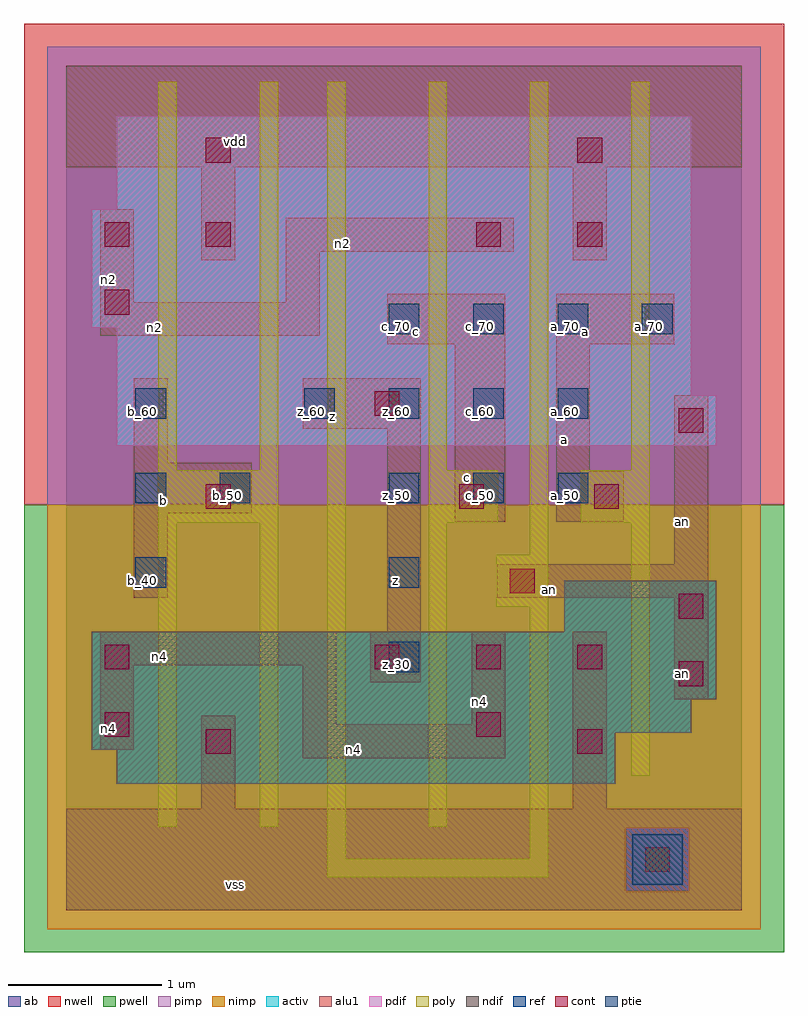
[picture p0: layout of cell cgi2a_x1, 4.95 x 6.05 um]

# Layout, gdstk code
import gdstk
lib = gdstk.Library(unit=1e-6, precision=2.5e-09)
def R(c, l, rs):  # rectangles x0, y0, x1, y1
    for r in rs: c.add(gdstk.rectangle(r[:2], r[2:], *l))
def A(c, l, x, y, w, h, nx, ny, dx, dy):  # array of equal rectangles
    R(c, l, [(x+i*dx, y+j*dy, x+i*dx+w, y+j*dy+h) for i in range(nx) for j in range(ny)])
ndif = (3, 0)
pdif = (4, 0)
ptie = (6, 0)
ref = (24, 0)
cont = (25, 0)
pwell = (41, 0)
nwell = (42, 0)
activ = (43, 0)
pimp = (44, 0)
nimp = (45, 0)
poly = (46, 0)
alu1 = (49, 0)
ab = (63, 0)

cgi2a_x1 = lib.new_cell('cgi2a_x1')
R(cgi2a_x1, ndif, [(0.33,0.825,3.575,1.045), (0.165,1.045,3.575,1.155), (0.165,1.155,4.07,1.375), (0.165,1.375,4.235,1.815), (3.245,1.815,4.235,2.145)])
R(cgi2a_x1, pdif, [(0.33,3.025,4.235,3.355), (0.33,3.355,4.07,3.795), (0.165,3.795,4.07,4.565), (0.33,4.565,4.07,5.17)])
R(cgi2a_x1, ptie, [(3.685,0.165,4.015,0.495)])
A(cgi2a_x1, ref, 0.45, 2.1, 0.2, 0.2, 1, 3, 0, 0.55)
A(cgi2a_x1, ref, 2.1, 2.65, 0.2, 0.2, 3, 1, 0.55, 0)
A(cgi2a_x1, ref, 1.55, 3.2, 0.2, 0.2, 4, 1, 0.55, 0)
A(cgi2a_x1, ref, 2.1, 3.75, 0.2, 0.2, 4, 1, 0.55, 0)
R(cgi2a_x1, ref, [(2.1,1.55,2.3,1.75), (2.1,2.1,2.3,2.3), (1,2.65,1.2,2.85)])
A(cgi2a_x1, cont, 2.01, 1.57, 0.16, 0.16, 3, 1, 0.66, 0)
R(cgi2a_x1, cont, [(3.77,0.25,3.93,0.41), (0.91,1.02,1.07,1.18), (3.33,1.02,3.49,1.18), (0.25,1.13,0.41,1.29), (2.67,1.13,2.83,1.29), (3.99,1.46,4.15,1.62), (0.25,1.57,0.41,1.73), (3.99,1.9,4.15,2.06), (2.89,2.065,3.05,2.225), (0.91,2.615,1.07,2.775), (2.56,2.615,2.72,2.775), (3.44,2.615,3.6,2.775), (3.99,3.11,4.15,3.27), (2.01,3.22,2.17,3.38), (0.25,3.88,0.41,4.04), (0.25,4.32,0.41,4.48), (0.91,4.32,1.07,4.48), (2.67,4.32,2.83,4.48), (3.33,4.32,3.49,4.48), (0.91,4.87,1.07,5.03), (3.33,4.87,3.49,5.03)])
R(cgi2a_x1, pwell, [(-0.275,-0.275,4.675,2.64)])
R(cgi2a_x1, nwell, [(-0.275,2.64,4.675,5.775)])
R(cgi2a_x1, activ, [(3.685,0.165,4.015,0.495), (0.33,0.825,3.575,1.045), (0.165,1.045,3.575,1.155), (0.165,1.155,4.07,1.375), (0.165,1.375,4.235,1.815), (3.245,1.815,4.235,2.145), (0.33,3.025,4.235,3.355), (0.33,3.355,4.07,3.795), (0.165,3.795,4.07,4.565), (0.33,4.565,4.07,5.17)])
R(cgi2a_x1, pimp, [(3.645,0.125,4.055,0.535), (-0.125,2.64,4.525,5.625)])
R(cgi2a_x1, nimp, [(-0.125,-0.125,4.525,0.125), (-0.125,0.125,3.645,0.535), (4.055,0.125,4.525,0.535), (-0.125,0.535,4.525,2.64)])
R(cgi2a_x1, poly, [(1.7,0.215,3.14,0.335), (1.7,0.335,1.82,5.395), (3.02,0.335,3.14,1.975), (0.6,0.545,0.72,2.525), (1.26,0.545,1.38,2.525), (2.36,0.545,2.48,2.525), (3.68,0.875,3.8,2.525), (2.8,1.975,3.14,2.315), (3.02,2.315,3.14,5.395), (0.6,2.525,1.38,2.865), (2.36,2.525,2.81,2.865), (3.35,2.525,3.8,2.865), (0.6,2.865,0.72,5.395), (1.26,2.865,1.38,5.395), (2.36,2.865,2.48,5.395), (3.68,2.865,3.8,5.395)])
R(cgi2a_x1, alu1, [(0,0,4.4,0.66), (0.88,0.66,1.1,1.265), (3.3,0.66,3.52,1.815), (1.54,0.99,2.86,1.21), (0.22,1.045,0.44,1.595), (1.54,1.21,1.76,1.595), (2.64,1.21,2.86,1.815), (3.96,1.375,4.18,2.035), (1.98,1.485,2.31,1.815), (0.22,1.595,1.76,1.815), (2.09,1.815,2.31,3.135), (0.44,2.035,0.66,2.585), (2.805,2.035,4.18,2.255), (3.96,2.255,4.18,3.355), (2.53,2.53,2.86,3.685), (3.19,2.53,3.63,2.86), (0.44,2.585,1.21,2.915), (3.19,2.86,3.41,3.685), (0.44,2.915,0.66,3.465), (1.54,3.135,2.31,3.465), (2.09,3.685,2.86,4.015), (3.19,3.685,3.96,4.015), (0.22,3.74,1.65,3.96), (0.22,3.96,0.44,4.565), (1.43,3.96,1.65,4.29), (0.88,4.235,1.1,4.84), (3.3,4.235,3.52,4.84), (1.43,4.29,2.915,4.51), (0,4.84,4.4,5.5)])
R(cgi2a_x1, ab, [(0,0,4.4,5.5)])
cgi2a_x1.add(gdstk.Label('vss', (1.1,0.165), layer=49, texttype=0))
cgi2a_x1.add(gdstk.Label('an', (4.015,1.54), layer=49, texttype=0))
cgi2a_x1.add(gdstk.Label('n4', (1.87,1.045), layer=49, texttype=0))
cgi2a_x1.add(gdstk.Label('n4', (2.695,1.36), layer=49, texttype=0))
cgi2a_x1.add(gdstk.Label('n4', (0.275,1.1825), layer=49, texttype=0))
cgi2a_x1.add(gdstk.Label('n4', (0.605,1.65), layer=49, texttype=0))
cgi2a_x1.add(gdstk.Label('an', (3.1475,2.09), layer=49, texttype=0))
cgi2a_x1.add(gdstk.Label('an', (4.015,2.53), layer=49, texttype=0))
cgi2a_x1.add(gdstk.Label('a', (3.245,3.065), layer=49, texttype=0))
cgi2a_x1.add(gdstk.Label('a', (3.3825,3.7675), layer=49, texttype=0))
cgi2a_x1.add(gdstk.Label('c', (2.6125,2.8175), layer=49, texttype=0))
cgi2a_x1.add(gdstk.Label('z', (2.145,2.145), layer=49, texttype=0))
cgi2a_x1.add(gdstk.Label('b', (0.6325,2.6675), layer=49, texttype=0))
cgi2a_x1.add(gdstk.Label('z', (1.7325,3.2175), layer=49, texttype=0))
cgi2a_x1.add(gdstk.Label('c', (2.2825,3.7675), layer=49, texttype=0))
cgi2a_x1.add(gdstk.Label('n2', (0.5775,3.795), layer=49, texttype=0))
cgi2a_x1.add(gdstk.Label('n2', (1.8,4.345), layer=49, texttype=0))
cgi2a_x1.add(gdstk.Label('n2', (0.275,4.11), layer=49, texttype=0))
cgi2a_x1.add(gdstk.Label('vdd', (1.1,5.005), layer=49, texttype=0))
cgi2a_x1.add(gdstk.Label('c_70', (2.15,3.8), layer=24, texttype=0))
cgi2a_x1.add(gdstk.Label('a_70', (3.8,3.8), layer=24, texttype=0))
cgi2a_x1.add(gdstk.Label('z_30', (2.15,1.6), layer=24, texttype=0))
cgi2a_x1.add(gdstk.Label('c_50', (2.7,2.7), layer=24, texttype=0))
cgi2a_x1.add(gdstk.Label('b_60', (0.5,3.25), layer=24, texttype=0))
cgi2a_x1.add(gdstk.Label('b_50', (0.5,2.7), layer=24, texttype=0))
cgi2a_x1.add(gdstk.Label('b_50', (1.05,2.7), layer=24, texttype=0))
cgi2a_x1.add(gdstk.Label('b_40', (0.5,2.15), layer=24, texttype=0))
cgi2a_x1.add(gdstk.Label('z_60', (2.15,3.25), layer=24, texttype=0))
cgi2a_x1.add(gdstk.Label('z_60', (1.6,3.25), layer=24, texttype=0))
cgi2a_x1.add(gdstk.Label('c_60', (2.7,3.25), layer=24, texttype=0))
cgi2a_x1.add(gdstk.Label('c_70', (2.7,3.8), layer=24, texttype=0))
cgi2a_x1.add(gdstk.Label('a_50', (3.25,2.7), layer=24, texttype=0))
cgi2a_x1.add(gdstk.Label('a_60', (3.25,3.25), layer=24, texttype=0))
cgi2a_x1.add(gdstk.Label('a_70', (3.25,3.8), layer=24, texttype=0))
cgi2a_x1.add(gdstk.Label('z_40', (2.15,2.15), layer=24, texttype=0))
cgi2a_x1.add(gdstk.Label('z_50', (2.15,2.7), layer=24, texttype=0))

lib.write_gds('cgi2a_x1.gds')
